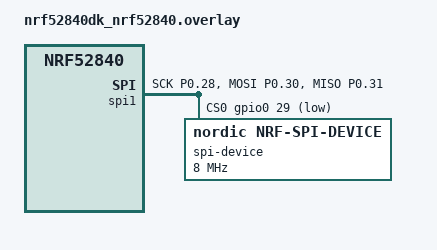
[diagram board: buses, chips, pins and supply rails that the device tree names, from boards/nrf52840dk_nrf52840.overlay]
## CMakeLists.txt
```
cmake_minimum_required(VERSION 3.20.0)
find_package(Zephyr REQUIRED HINTS $ENV{ZEPHYR_BASE})

# project name
project(wearable-ecg-monitor-spi)

# list of all target source files
target_sources(app PRIVATE
    src/main.c
    # add more here
)

# list of all include directories, to search for source files
target_include_directories(app PRIVATE
    include
)
```

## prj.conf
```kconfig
CONFIG_SPI=y
CONFIG_SPI_NRFX=y # enables Nordic-specific SPI driver
CONFIG_SPI_ASYNC=y # enables asyn (non-blocking) SPI API in Zephyr
CONFIG_GPIO=y

CONFIG_LOG=y        # enables logging errors
CONFIG_CONSOLE=y    # enables use of k_printk() and others; might be useful for debugging
```

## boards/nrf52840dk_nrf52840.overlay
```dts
//Defines the SPI instance and CS pin for the MAX30001G (nned to double check pins based on hw)

&spi1 {
    compatible = "nordic,nrf-spim";
    status = "okay";
    cs-gpios = <&gpio0 29 GPIO_ACTIVE_LOW>;  
    pinctrl-0 = <&spi1_default>;
    pinctrl-1 = <&spi1_sleep>;
    pinctrl-names = "default", "sleep";

    spi-device@0 {
        compatible = "nordic,nrf-spi-device";
        reg = <0>;
        spi-max-frequency = <8000000>;
    };
};

&pinctrl {
    spi1_default: spi1_default {
        group1 {
            psels = <NRF_PSEL(SPIM_SCK, 0, 28)>,   
                    <NRF_PSEL(SPIM_MOSI, 0, 30)>,  
                    <NRF_PSEL(SPIM_MISO, 0, 31)>;  
            nordic,drive-mode = <NRF_DRIVE_S0S1>;
        };
    };

    spi1_sleep: spi1_sleep {
        group1 {
            psels = <NRF_PSEL(SPIM_SCK, 0, 28)>,
                    <NRF_PSEL(SPIM_MOSI, 0, 30)>,
                    <NRF_PSEL(SPIM_MISO, 0, 31)>;
            low-power-enable;
        };
    };
};

// TO DO: add gpio pin to read INTB signal
```

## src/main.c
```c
// kernel and logging
#include <zephyr/kernel.h>
#include <zephyr/logging/log.h>

// device tree
#include <zephyr/device.h>
#include <zephyr/devicetree.h>
#include <zephyr/drivers/gpio.h>
#include <zephyr/drivers/spi.h>

// Register logging module
LOG_MODULE_REGISTER(main);

// TO DO: configure SPI_read_thread
#define SPI_READ_THREAD_STACK_SIZE 1024
#define SPI_READ_THREAD_PRIORITY 5
#define SPI_READ_THREAD_OPTIONS 0
K_THREAD_STACK_DEFINE(SPI_read_thread_stack, SPI_READ_THREAD_STACK_SIZE);
struct k_thread SPI_read_thread_data;
void SPI_read_thread(void *, void *, void *);

// TO DO: configure interrupt service routine

int initialize_MAX();

int main(void) {
    // TO DO: initialize MAX30001G for interrupts with INTB
    initialize_MAX();

    // create threads
    k_tid_t SPI_read_thread_id = k_thread_create(
        &SPI_read_thread_data,
        &SPI_read_thread_stack, K_THREAD_STACK_SIZEOF(SPI_read_thread_stack),
        SPI_read_thread, NULL, NULL, NULL,
        SPI_READ_THREAD_PRIORITY,
        SPI_READ_THREAD_OPTIONS,
        K_NO_WAIT
    );

}

// TO DO: implement interrupt service routine

int initialize_MAX() {
    // TO DO: implement MAX30001G initialization

    return 0;
}

void SPI_read_thread(void *, void *, void *) {
    // TO DO: log message and toggle LED
    LOG_INF("SPI read thread started");
}
```

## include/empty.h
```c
// placeholder header file for project skeleton
// remove when other header files are added to this directory
```
